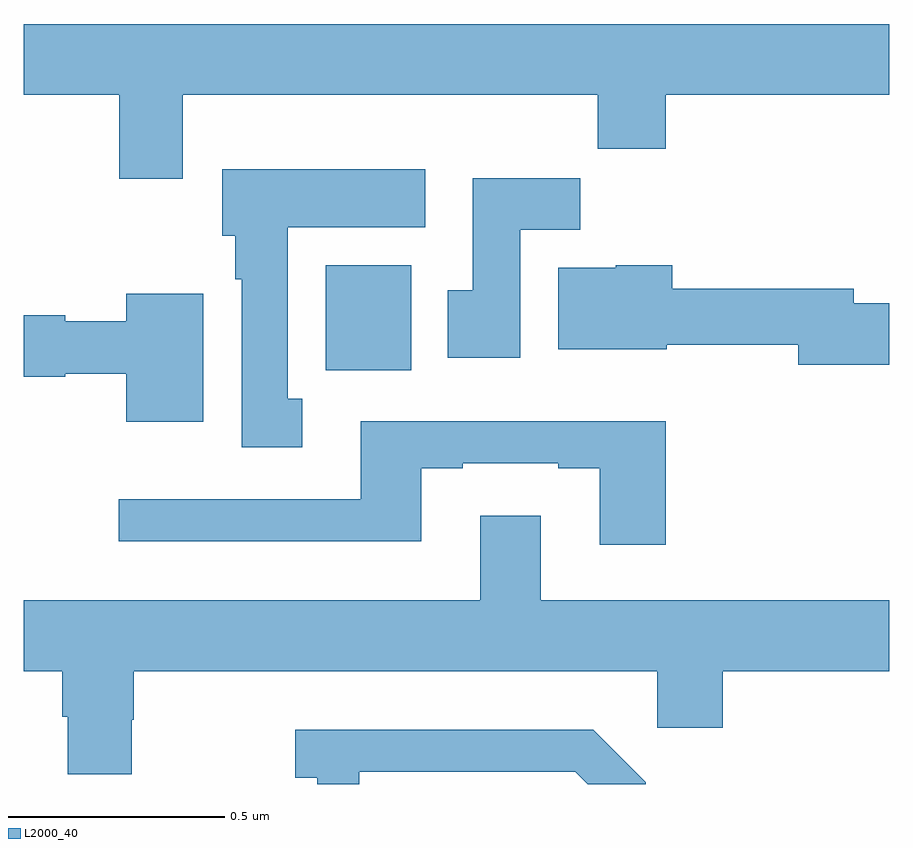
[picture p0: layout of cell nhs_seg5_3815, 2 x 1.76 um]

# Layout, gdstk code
import gdstk
lib = gdstk.Library(unit=1e-6, precision=1e-09)
def R(c, l, rs):  # rectangles x0, y0, x1, y1
    for r in rs: c.add(gdstk.rectangle(r[:2], r[2:], *l))
def P(c, l, *ps):  # polygons
    for p in ps: c.add(gdstk.Polygon(p, *l))
L2000_40 = (2000, 40)

nhs_seg5_3815 = lib.new_cell('nhs_seg5_3815')
R(nhs_seg5_3815, L2000_40, [(162.698,890.756,162.895,890.998)])
P(nhs_seg5_3815, L2000_40, [(162.367,891.392),(163.327,891.392),(163.327,891.268),(163.484,891.268),(163.484,891.392),(164,891.392),(164,891.556),(162,891.556),(162,891.392),(162.22,891.392),(162.22,891.198),(162.367,891.198)],
  [(162.643,890.69),(162.61,890.69),(162.61,891.086),(162.928,891.086),(162.928,891.22),(162.458,891.22),(162.458,891.066),(162.488,891.066),(162.488,890.966),(162.503,890.966),(162.503,890.577),(162.643,890.577)],
  [(163.147,891.08),(163.286,891.08),(163.286,891.199),(163.037,891.199),(163.037,890.94),(162.98,890.94),(162.98,890.784),(163.147,890.784)],
  [(164,890.91),(163.918,890.91),(163.918,890.944),(163.499,890.944),(163.499,890.998),(163.368,890.998),(163.368,890.992),(163.235,890.992),(163.235,890.804),(163.486,890.804),(163.486,890.815),(163.79,890.815),(163.79,890.768),(164,890.768)],
  [(162.415,890.932),(162.236,890.932),(162.236,890.869),(162.095,890.869),(162.095,890.883),(162,890.883),(162,890.74),(162.095,890.74),(162.095,890.748),(162.236,890.748),(162.236,890.636),(162.415,890.636)],
  [(163.484,890.638),(162.779,890.638),(162.779,890.457),(162.219,890.457),(162.219,890.36),(162.919,890.36),(162.919,890.529),(163.015,890.529),(163.015,890.541),(163.235,890.541),(163.235,890.529),(163.331,890.529),(163.331,890.352),(163.484,890.352)],
  [(162.249,889.947),(162.254,889.947),(162.254,890.06),(163.464,890.06),(163.464,889.929),(163.616,889.929),(163.616,890.06),(164,890.06),(164,890.224),(163.195,890.224),(163.195,890.419),(163.055,890.419),(163.055,890.224),(162,890.224),(162,890.06),(162.089,890.06),(162.089,889.954),(162.101,889.954),(162.101,889.822),(162.249,889.822)],
  [(162.775,889.827),(163.275,889.827),(163.303,889.799),(163.437,889.799),(163.437,889.803),(163.316,889.924),(162.627,889.924),(162.627,889.814),(162.678,889.814),(162.678,889.799),(162.775,889.799)])

lib.write_gds('nhs_seg5_3815.gds')
